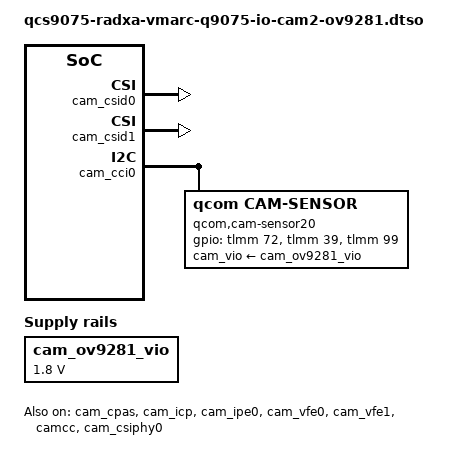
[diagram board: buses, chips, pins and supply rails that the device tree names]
// SPDX-License-Identifier: BSD-3-Clause
/*
 * Copyright (c) 2026 Radxa Computer (Shenzhen) Co., Ltd.
 */

/dts-v1/;
/plugin/;

#include <dt-bindings/gpio/gpio.h>
#include <dt-bindings/interrupt-controller/irq.h>
#include <dt-bindings/interrupt-controller/arm-gic.h>
#include <dt-bindings/clock/qcom,sa8775p-camcc.h>
#include <dt-bindings/clock/qcom,sa8775p-gcc.h>
#include <dt-bindings/interconnect/qcom,icc.h>
#include <dt-bindings/interconnect/qcom,sa8775p-rpmh.h>
#include <dt-bindings/power/qcom-rpmpd.h>
#include <dt-bindings/msm-camera.h>

#include "sa8775p-camera.dtsi"

/ {
	metadata {
		title = "Enable OV9281 camera on CAM2";
		compatible = "radxa,vmarc-q9075-io";
		category = "camera";
		exclusive = "cam_cci0", "cam_csiphy0", "cci0", "gpio39",
			    "gpio72", "gpio99";
		description = "Enable OV9281 camera on CAM2";
	};
};

&tlmm {
	cam0_ov9281_ctrl_default: cam0-ov9281-ctrl-default-state {
		pins = "gpio39", "gpio99";
		function = "gpio";
		drive-strength = <2>;
		bias-disable;
	};

	cam0_ov9281_ctrl_suspend: cam0-ov9281-ctrl-suspend-state {
		pins = "gpio39", "gpio99";
		function = "gpio";
		drive-strength = <2>;
		bias-pull-down;
	};
};

&soc {
	cam_ov9281_vio: cam-ov9281-vio-regulator {
		compatible = "regulator-fixed";
		regulator-name = "cam_ov9281_vio";
		regulator-min-microvolt = <1800000>;
		regulator-max-microvolt = <1800000>;
		regulator-boot-on;
		regulator-always-on;
	};

	qcom,cam-res-mgr {
		compatible = "qcom,cam-res-mgr";
		status = "ok";
		gpios-shared = <518 519 520 521>;
	};

	qcom,cam-req-mgr {
		status = "okay";
	};

	qcom,cam-sync {
		status = "okay";
	};

	qcom,cam_smmu {
		status = "okay";
	};

	qcom,cam-cdm-intf {
		status = "okay";
	};

	qcom,rt-cdm0 {
		status = "okay";
	};

	qcom,rt-cdm1 {
		status = "okay";
	};

	qcom,rt-cdm2 {
		status = "okay";
	};

	qcom,rt-cdm3 {
		status = "okay";
	};

	qcom,cam-isp {
		status = "okay";
	};
};

&cam_cpas {
	status = "okay";
};

&cam_icp {
	status = "okay";
};

&cam_icp_firmware {
	status = "okay";
};

&cam_ipe0 {
	status = "okay";
};

&cam_csid0 {
	status = "okay";
};

&cam_vfe0 {
	status = "okay";
};

&cam_csid1 {
	status = "okay";
};

&cam_vfe1 {
	status = "okay";
};

&camcc {
	status = "okay";
};

&cci0 {
	status = "disabled";
};

&cam_csiphy0 {
	status = "okay";
};

&cam_cci0 {
	status = "okay";

	qcom,cam-sensor20 {
		cell-index = <20>;
		compatible = "qcom,cam-sensor";
		csiphy-sd-index = <0>;
		sensor-position-roll = <0>;
		sensor-position-pitch = <0>;
		sensor-position-yaw = <180>;
		cam_vio-supply = <&cam_ov9281_vio>;
		regulator-names = "cam_vio";
		power-domains = <&camcc CAM_CC_TITAN_TOP_GDSC>;
		rgltr-cntrl-support;
		pwm-switch;
		rgltr-min-voltage = <1800000>;
		rgltr-max-voltage = <1800000>;
		rgltr-load-current = <120000>;
		gpio-no-mux = <0>;
		pinctrl-names = "cam_default", "cam_suspend";
		pinctrl-0 = <&cam_sensor_mclk0_active
				&cam0_ov9281_ctrl_default>;
		pinctrl-1 = <&cam_sensor_mclk0_suspend
				&cam0_ov9281_ctrl_suspend>;
		gpios = <&tlmm 72 GPIO_ACTIVE_HIGH>,
			<&tlmm 39 GPIO_ACTIVE_HIGH>,
			<&tlmm 99 GPIO_ACTIVE_HIGH>;
		gpio-reset = <1>;
		gpio-custom1 = <2>;
		gpio-req-tbl-num = <0 1 2>;
		gpio-req-tbl-flags = <1 0 0>;
		gpio-req-tbl-label = "CAM_MCLK0", "CAMIF_RESET0",
				     "CAM_CUSTOM1";
		cci-master = <0>;
		cci-device = <0>;
		clocks = <&camcc CAM_CC_MCLK0_CLK>;
		clock-names = "cam_clk";
		clock-cntl-level = "nominal";
		clock-rates = <24000000>;
		status = "ok";
	};
};
